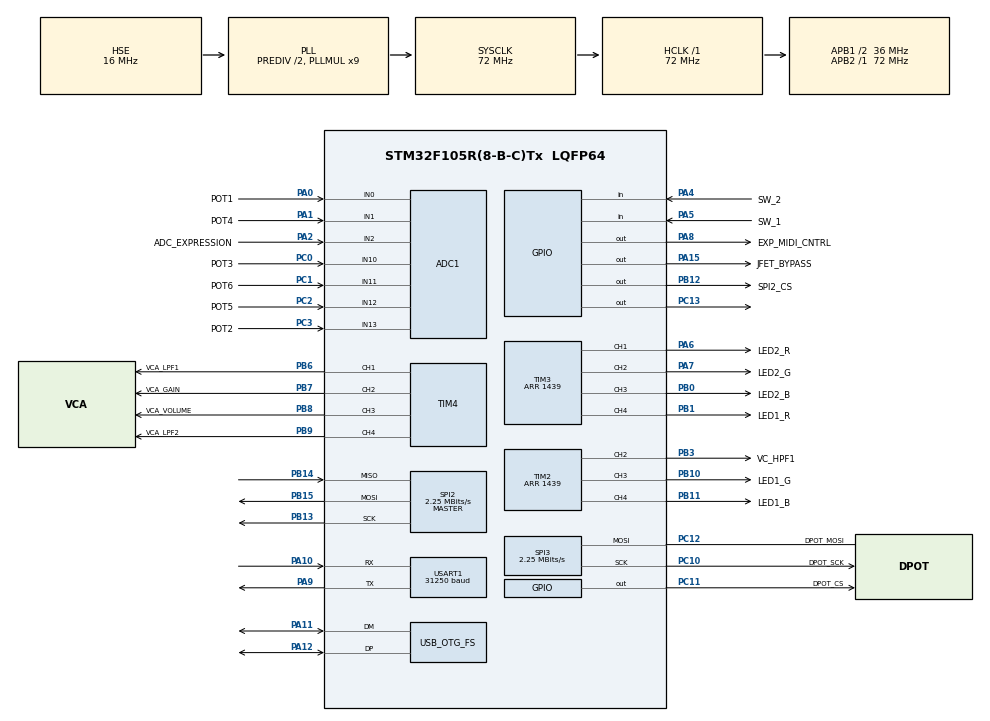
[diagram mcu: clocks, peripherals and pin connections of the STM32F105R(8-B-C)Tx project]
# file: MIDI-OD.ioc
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ADC1.Channel-1\#ChannelRegularConversion=ADC_CHANNEL_10
ADC1.NbrOfConversionFlag=1
ADC1.Rank-1\#ChannelRegularConversion=1
ADC1.SamplingTime-1\#ChannelRegularConversion=ADC_SAMPLETIME_1CYCLE_5
ADC1.master=1
Mcu.Family=STM32F1
Mcu.Name=STM32F105R(8-B-C)Tx
Mcu.Package=LQFP64
NVIC.PriorityGroup=NVIC_PRIORITYGROUP_4
PA0-WKUP.GPIO_Label=POT1
PA0-WKUP.Signal=ADCx_IN0
PA1.GPIO_Label=POT4
PA1.Signal=ADCx_IN1
PA10.Mode=Asynchronous
PA10.Signal=USART1_RX
PA11.Mode=Device_Only
PA11.Signal=USB_OTG_FS_DM
PA12.Mode=Device_Only
PA12.Signal=USB_OTG_FS_DP
PA13.Mode=Serial_Wire
PA13.Signal=SYS_JTMS-SWDIO
PA14.Mode=Serial_Wire
PA14.Signal=SYS_JTCK-SWCLK
PA15.GPIO_Label=JFET_BYPASS
PA15.Signal=GPIO_Output
PA2.GPIO_Label=ADC_EXPRESSION
PA2.Signal=ADCx_IN2
PA4.GPIO_Label=SW_2
PA4.GPIO_PuPd=GPIO_PULLUP
PA4.Signal=GPIO_Input
PA5.GPIO_Label=SW_1
PA5.GPIO_PuPd=GPIO_PULLUP
PA5.Signal=GPIO_Input
PA6.GPIO_Label=LED2_R
PA6.Signal=S_TIM3_CH1
PA7.GPIO_Label=LED2_G
PA7.Signal=S_TIM3_CH2
PA8.GPIO_Label=EXP_MIDI_CNTRL
PA8.Signal=GPIO_Output
PA9.Mode=Asynchronous
PA9.Signal=USART1_TX
PB0.GPIO_Label=LED2_B
PB0.Signal=S_TIM3_CH3
PB1.GPIO_Label=LED1_R
PB1.Signal=S_TIM3_CH4
PB10.GPIO_Label=LED1_G
PB10.Signal=S_TIM2_CH3
PB11.GPIO_Label=LED1_B
PB11.Signal=S_TIM2_CH4
PB12.GPIO_Label=SPI2_CS
PB12.PinState=GPIO_PIN_SET
PB12.Signal=GPIO_Output
PB13.Mode=Full_Duplex_Master
PB13.Signal=SPI2_SCK
PB14.Mode=Full_Duplex_Master
PB14.Signal=SPI2_MISO
PB15.Mode=Full_Duplex_Master
PB15.Signal=SPI2_MOSI
PB3.GPIO_Label=VC_HPF1
PB3.Signal=S_TIM2_CH2
PB6.GPIO_Label=VCA_LPF1
PB6.Signal=S_TIM4_CH1
PB7.GPIO_Label=VCA_GAIN
PB7.Signal=S_TIM4_CH2
PB8.GPIO_Label=VCA_VOLUME
PB8.Signal=S_TIM4_CH3
PB9.GPIO_Label=VCA_LPF2
PB9.Signal=S_TIM4_CH4
PC0.GPIO_Label=POT3
PC0.Signal=ADCx_IN10
PC1.GPIO_Label=POT6
PC1.Signal=ADCx_IN11
PC10.GPIO_Label=DPOT_SCK
PC10.Mode=Simplex_Bidirectional_Master
PC10.Signal=SPI3_SCK
PC11.GPIO_Label=DPOT_CS
PC11.PinState=GPIO_PIN_SET
PC11.Signal=GPIO_Output
PC12.GPIO_Label=DPOT_MOSI
PC12.Mode=Simplex_Bidirectional_Master
PC12.Signal=SPI3_MOSI
PC13-TAMPER-RTC.Signal=GPIO_Output
PC2.GPIO_Label=POT5
PC2.Signal=ADCx_IN12
PC3.GPIO_Label=POT2
PC3.Signal=ADCx_IN13
PD0-OSC_IN.Mode=HSE-External-Oscillator
PD0-OSC_IN.Signal=RCC_OSC_IN
PD1-OSC_OUT.Mode=HSE-External-Oscillator
PD1-OSC_OUT.Signal=RCC_OSC_OUT
ProjectManager.HeapSize=0x200
ProjectManager.StackSize=0x400
ProjectManager.TargetToolchain=STM32CubeIDE
RCC.ADCPresc=RCC_ADCPCLK2_DIV6
RCC.AHBFreq_Value=72000000
RCC.APB1CLKDivider=RCC_HCLK_DIV2
RCC.APB1Freq_Value=36000000
RCC.APB1TimFreq_Value=72000000
RCC.APB2Freq_Value=72000000
RCC.APB2TimFreq_Value=72000000
RCC.HCLKFreq_Value=72000000
RCC.HSEDivPLL=RCC_HSE_PREDIV_DIV2
RCC.HSE_VALUE=16000000
RCC.PLLMUL=RCC_PLL_MUL9
RCC.SYSCLKFreq_VALUE=72000000
RCC.SYSCLKSource=RCC_SYSCLKSOURCE_PLLCLK
RCC.USBFreq_Value=48000000
SH.ADCx_IN0.0=ADC1_IN0,IN0
SH.ADCx_IN1.0=ADC1_IN1,IN1
SH.ADCx_IN10.0=ADC1_IN10,IN10
SH.ADCx_IN11.0=ADC1_IN11,IN11
SH.ADCx_IN12.0=ADC1_IN12,IN12
SH.ADCx_IN13.0=ADC1_IN13,IN13
SH.ADCx_IN2.0=ADC1_IN2,IN2
SH.S_TIM2_CH2.0=TIM2_CH2,PWM Generation2 CH2
SH.S_TIM2_CH3.0=TIM2_CH3,PWM Generation3 CH3
SH.S_TIM2_CH4.0=TIM2_CH4,PWM Generation4 CH4
SH.S_TIM3_CH1.0=TIM3_CH1,PWM Generation1 CH1
SH.S_TIM3_CH2.0=TIM3_CH2,PWM Generation2 CH2
SH.S_TIM3_CH3.0=TIM3_CH3,PWM Generation3 CH3
SH.S_TIM3_CH4.0=TIM3_CH4,PWM Generation4 CH4
SH.S_TIM4_CH1.0=TIM4_CH1,PWM Generation1 CH1
SH.S_TIM4_CH2.0=TIM4_CH2,PWM Generation2 CH2
SH.S_TIM4_CH3.0=TIM4_CH3,PWM Generation3 CH3
SH.S_TIM4_CH4.0=TIM4_CH4,PWM Generation4 CH4
SPI2.BaudRatePrescaler=SPI_BAUDRATEPRESCALER_16
SPI2.CalculateBaudRate=2.25 MBits/s
SPI2.Direction=SPI_DIRECTION_2LINES
SPI2.Mode=SPI_MODE_MASTER
SPI2.VirtualType=VM_MASTER
SPI3.BaudRatePrescaler=SPI_BAUDRATEPRESCALER_16
SPI3.CalculateBaudRate=2.25 MBits/s
SPI3.Direction=SPI_DIRECTION_1LINE
SPI3.Mode=SPI_MODE_MASTER
SPI3.VirtualType=VM_MASTER
TIM2.Channel-PWM\ Generation2\ CH2=TIM_CHANNEL_2
TIM2.Channel-PWM\ Generation3\ CH3=TIM_CHANNEL_3
TIM2.Channel-PWM\ Generation4\ CH4=TIM_CHANNEL_4
TIM2.Period=1439
TIM3.Channel-PWM\ Generation1\ CH1=TIM_CHANNEL_1
TIM3.Channel-PWM\ Generation2\ CH2=TIM_CHANNEL_2
TIM3.Channel-PWM\ Generation3\ CH3=TIM_CHANNEL_3
TIM3.Channel-PWM\ Generation4\ CH4=TIM_CHANNEL_4
TIM3.Period=1439
TIM4.Channel-PWM\ Generation1\ CH1=TIM_CHANNEL_1
TIM4.Channel-PWM\ Generation2\ CH2=TIM_CHANNEL_2
TIM4.Channel-PWM\ Generation3\ CH3=TIM_CHANNEL_3
TIM4.Channel-PWM\ Generation4\ CH4=TIM_CHANNEL_4
USART1.BaudRate=31250
USART1.Mode=MODE_RX
USART1.VirtualMode=VM_ASYNC
USB_OTG_FS.VirtualMode=Device_Only
board=custom

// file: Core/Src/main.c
/* USER CODE BEGIN Header */
/**
  ******************************************************************************
  * @file           : main.c
  * @brief          : Main program body
  ******************************************************************************
  * @attention
  *
  * Copyright (c) 2026 STMicroelectronics.
  * All rights reserved.
  *
  * This software is licensed under terms that can be found in the LICENSE file
  * in the root directory of this software component.
  * If no LICENSE file comes with this software, it is provided AS-IS.
  *
  ******************************************************************************
  */
/* USER CODE END Header */
#include "main.h"

/* USER CODE BEGIN Includes */
#include "led_rgb.h"
#include "pot.h"
#include "footswitch.h"
#include "cvout.h"
#include "dpot_mcp41hv.h"   /* MCP41HV31 bias control (SPI3) */
#include "midi.h"           /* UART/TRS MIDI input (USART1 @ 31250) */
#include "midi_map.h"       /* CC number assignments */
#include "preset.h"         /* SW_2 preset snapshot/recall state machine       */
#include "w25q.h"           /* W25Q16JV external SPI NOR flash (SPI2, CS=PB12)  */
#include "preset_store.h"   /* preset persistence on the W25Q flash            */
#include <math.h>   /* powf — LED1 gain-curve meter; fabsf — MIDI hysteresis */
/* USER CODE END Includes */

/* USER CODE BEGIN PD */
/* Bias DPOT range (POT6 min -> max), C taper over the useful 2.8 .. 3.7 V window
 * (see Bias_Profile.md):
 *   POT6 min -> BIAS_CODE_MIN = code 98  = ~+2.8 V
 *   POT6 max -> BIAS_CODE_MAX = code 111 = ~+3.7 V
 * The bias only does something musical in this band, so POT6 sweeps just it.
 * Codes from the measured endpoints (code 63 = 0.287 V, code 127 = 4.844 V,
 * linear in code):
 *   code(V) = 63 + (V - 0.287)*(127-63)/(4.844-0.287)
 *   code(2.8 V) ~= 98 (2.78 V) ; code(3.7 V) ~= 111 (3.70 V)                    */
#define BIAS_CODE_MIN   98     /* ~+2.8 V — bottom of the useful bias window      */
#define BIAS_CODE_MAX  111     /* ~+3.7 V — top of the useful bias window         */
/* C taper (anti-log): fast rise off the bottom, fine resolution near the top.
 * curve(x) = (1 - e^-k x) / (1 - e^-k); larger k = more aggressive front end.  */
#define BIAS_TAPER_K   2.5f

/* Volume taper (POT4): match a Tube Screamer Level pot's sweep. A TS Level is a
 * linear voltage divider, so its perceived taper is ~ -VOL_TS_DB_DECADE*log10(rot)
 * (measured fit ~24 dB/decade: 2.2 / 7.6 / 16.6 dB down at 3:00 / 12:00 / 9:00 -
 * most of the loudness lives in the top of the rotation). We turn that desired
 * attenuation into a cvout control by dividing through the volume VCA's full
 * commanded CV span: VC ~3.02 V after the 1k||10k series mod, at -31 mV/dB -> ~97 dB.
 * See VCA_Profiles.md. */
#define VOL_TS_DB_DECADE  24.0f   /* TS Level taper steepness (dB per decade of rot) */
#define VOL_CV_SPAN_DB    97.4f   /* full-scale commanded atten: 3.02 V / 31 mV-per-dB */

/* --- Control smoothing (anti-zipper, TIM7 ISR) ----------------------------
 * The 100 Hz loop only sets *targets*; a TIM7 update ISR at CTRL_SMOOTH_HZ does
 * the actual output writes — (a) one-pole-slews each VCA's CV toward its target
 * and (b) glides the bias DPOT one code per tick toward its target. A fast knob
 * twist (or a MIDI jump) then ramps instead of stepping, so the staircase no
 * longer lands in the audio band as "zzz". This is our equivalent of the
 * per-sample fonepole InTheWater runs in its 48 kHz audio callback — except we
 * have no audio loop, so a dedicated timer carries it.
 *   CV_SMOOTH_COEF: one-pole alpha in  y += a*(target - y).  0.10 @ 2 kHz ~=
 *   4.8 ms time constant — smooth yet still tracks a 100 Hz target with no
 *   audible lag. Lower = smoother/slower, higher = snappier/buzzier.
 * NOTE: the VCA path has a real RC after the PWM, so smoothing fully removes its
 * zipper. The bias DPOT has NO RC after the OPA1677 buffer, so each code is an
 * instant DC step — gliding makes the steps small + evenly spaced (much quieter)
 * but a true fix still needs an output RC on +V_BIAS (see Bias_Profile.md). */
#define CTRL_SMOOTH_HZ   2000u   /* TIM7 tick: PSC 71 -> 1 MHz, ARR 499 -> 2 kHz */
#define CV_SMOOTH_COEF   0.10f
/* USER CODE END PD */

ADC_HandleTypeDef hadc1;

SPI_HandleTypeDef hspi2;
SPI_HandleTypeDef hspi3;

TIM_HandleTypeDef htim2;
TIM_HandleTypeDef htim3;
TIM_HandleTypeDef htim4;

UART_HandleTypeDef huart1;

PCD_HandleTypeDef hpcd_USB_OTG_FS;

/* USER CODE BEGIN PV */
LedRgb led1;   /* LEFT  — R:TIM3_CH4(PB1)  G:TIM2_CH3(PB10)  B:TIM2_CH4(PB11) */
LedRgb led2;   /* RIGHT — R:TIM3_CH1(PA6)  G:TIM3_CH2(PA7)   B:TIM3_CH3(PB0)  */
Pot    pots[6];  /* POT1..POT6 — read pots[i].value (0..1) after polling */
Footswitch sw1, sw2;       /* SW_1 (PA5) = bypass footswitch, SW_2 (PA4) = preset */
bool   bypass_on = true;   /* JFET bypass network: true = bypass ON (PA15 LOW,
                              MCU out 0). Unit boots bypassed. */

/* --- Presets (SW_2 + LED2) -------------------------------------------------
 * One RAM-only snapshot of the six resolved pot values; SW_2 tap = recall,
 * ~1 s hold = arm save, second hold = commit (see preset.[ch] / Preset_Profile.md).
 * Recall holds each saved value until that pot physically moves: the loop reads
 * preset_value(i) for a not-yet-moved pot in PRESET mode, then hands control back
 * to the live knob once it travels past PRESET_MOVE_EPS. pot_live[] latches that
 * hand-off; it's re-armed for all pots whenever we (re)enter PRESET mode. */
Preset preset_state;
W25Q   flash;                /* W25Q16JV external NOR (SPI2/PB12); presets persist
                                here, future PK-Bootloader firmware images too.   */
#define PRESET_HOLD_MS    1000u    /* SW_2 hold to arm/commit a save             */
#define PRESET_MOVE_EPS   0.02f    /* knob travel that reclaims a recalled pot   */
bool       sw2_hold_fired = false; /* the current SW_2 hold already armed/committed */
PresetMode preset_prev_mode = PRESET_LIVE; /* detect entry into PRESET (re-seed gate) */
bool       pot_live[6]   = { true, true, true, true, true, true }; /* knob has taken over */
float      pot_baseline[6] = {0};  /* eff[] frozen at recall, to measure movement */
/* SSI2160 VCA control-voltage outputs (PWM -> RC -> VC pin). Same cvout driver. */
CvOut  hpf1;               /* VC_HPF1    PB3 / TIM2_CH2 — POT1 (low-cut)         */
CvOut  lpf1;               /* VCA_LPF1   PB6 / TIM4_CH1 — POT2 (high-cut)        */
CvOut  lpf2;               /* VCA_LPF2   PB9 / TIM4_CH4 — POT3 (high-cut, inv.)  */
CvOut  gain;               /* VCA_GAIN   PB7 / TIM4_CH2 — POT5 (drive level in)  */
CvOut  volume;             /* VCA_VOLUME PB8 / TIM4_CH3 — POT4 (master out)      */
Mcp41hv bias;              /* MCP41HV31 bias pot on SPI3 (CS = PC11 / DPOT_CS)   */

/* --- Control smoothing (anti-zipper) — see CTRL_SMOOTH_HZ. The 100 Hz loop
 * writes the targets below; the TIM7 ISR (ctrl_smooth_tick) does the output
 * writes. 32-bit aligned float/int loads & stores are atomic on Cortex-M3, so
 * the loop<->ISR handoff needs no locking. Index: 0=HPF1 1=LPF1 2=LPF2 3=VOLUME
 * 4=GAIN (matches the cvout_set order the loop used to call directly). */
TIM_HandleTypeDef htim7;                       /* smoothing tick — NOT in CubeMX */
static CvOut* const cv_chan[5] = { &hpf1, &lpf1, &lpf2, &volume, &gain };
volatile float cv_target[5] = {0};             /* loop -> ISR: per-VCA CV goal   */
volatile int   bias_target  = BIAS_CODE_MIN;   /* loop -> ISR: DPOT code goal    */

/* --- MIDI (UART/TRS on USART1 @ 31250) ------------------------------------
 * CC 20..25 drive POT1..POT6's targets; each pot arbitrates MIDI vs the
 * physical knob with last-mover-wins hysteresis (config_applyMidi port), so a
 * twist of the real knob always reclaims control. midi_rx[] latches true once a
 * CC has ever been seen for that pot. Indices line up with pots[0..5]. */
float midi_val[6]   = {0};   /* latest CC value, 0..1, per pot                */
bool  midi_rx[6]    = {0};   /* a CC has been received for this pot (latches) */
bool  using_midi[6] = {0};   /* hysteresis: MIDI currently owns this pot      */
float last_knob[6]  = {0};   /* knob position frozen when MIDI took over      */
float last_midi[6]  = {0};   /* last MIDI value seen                          */
/* USER CODE END PV */

void SystemClock_Config(void);
static void MX_GPIO_Init(void);
static void MX_ADC1_Init(void);
static void MX_SPI2_Init(void);
static void MX_TIM2_Init(void);
static void MX_TIM3_Init(void);
static void MX_TIM4_Init(void);
static void MX_USB_OTG_FS_PCD_Init(void);
static void MX_SPI3_Init(void);
static void MX_USART1_UART_Init(void);

/* USER CODE BEGIN 0 */

/* Last-mover-wins arbitration between a physical knob and an incoming MIDI CC,
 * ported verbatim from "In The Water" (config_applyMidi). Returns the value to
 * actually use for this pot.
 *   - Before any CC for this pot: pass the knob through (usingMidi stays false).
 *   - Once a CC arrives, MIDI takes over when its move exceeds the knob's; a
 *     deliberate knob move (> HYST, and bigger than the MIDI move) reclaims it.
 *   - While MIDI owns the pot, *lastKnob is frozen so ADC jitter can't falsely
 *     steal control back. */
static float midi_apply(float knob, bool midiReceived, float midiValue,
                        float* lastKnob, float* lastMidi, bool* usingMidi)
{
  const float HYST = 0.02f;

  if (!midiReceived) {                 /* no CC yet -> pure knob */
    *usingMidi = false;
    *lastKnob  = knob;
    return knob;
  }

  float knobDelta = fabsf(knob - *lastKnob);
  float midiDelta = fabsf(midiValue - *lastMidi);

  if (*usingMidi) {
    if (knobDelta > HYST && knobDelta > midiDelta) {
      *usingMidi = false;
      *lastKnob  = knob;
    }
    /* *lastKnob intentionally frozen while MIDI is active */
  } else {
    if (midiDelta > HYST && midiDelta > knobDelta)
      *usingMidi = true;
    *lastKnob = knob;
  }

  *lastMidi = midiValue;
  return *usingMidi ? midiValue : knob;
}

/* Drive the JFET bypass network from code (mirrors the SW_1 handler):
 * bypass ON => PA15 LOW (MCU out 0), bypass OFF => PA15 HIGH. */
static void set_bypass(bool on)
{
  bypass_on = on;
  HAL_GPIO_WritePin(JFET_BYPASS_GPIO_Port, JFET_BYPASS_Pin,
                    on ? GPIO_PIN_RESET : GPIO_PIN_SET);
}

/* MIDI Control Change dispatch. CC 20..25 stash a value+flag for POT1..POT6
 * (applied with hysteresis in the loop); the rest act immediately. */
static void on_midi_cc(uint8_t cc, uint8_t value)
{
  if (cc >= MIDI_CC_POT1 && cc <= MIDI_CC_POT6) {
    uint8_t i = (uint8_t)(cc - MIDI_CC_POT1);   /* CC20..25 -> pots[0..5] */
    midi_val[i] = value * (1.0f / 127.0f);
    midi_rx[i]  = true;
    return;
  }

  switch (cc) {
    case MIDI_CC_EFFECT_ONOFF:           /* strict 0/127 direct bypass */
      if (value == 0)        set_bypass(true);
      else if (value == 127) set_bypass(false);
      break;

    case MIDI_CC_FS1:                    /* footswitch sim: a press toggles bypass */
      if (value > 0) set_bypass(!bypass_on);
      break;

    case MIDI_CC_FS2:                    /* footswitch sim: a press = preset recall toggle
                                          * (SW_2 tap). Hold-to-save has no momentary-CC
                                          * analogue, so MIDI only recalls/un-recalls. */
      if (value > 0) preset_recall_toggle(&preset_state);
      break;

    case MIDI_CC_ALL_SOUND_OFF:          /* panic -> force bypass */
    case MIDI_CC_ALL_NOTES_OFF:
      set_bypass(true);
      break;

    default:
      break;
  }
}

/* Smoothing tick — called from TIM7_IRQHandler (stm32f1xx_it.c) at
 * CTRL_SMOOTH_HZ. (a) One-pole-slews each VCA's CV toward cv_target[] and writes
 * it (the PWM's RC then smooths the small per-tick steps to a clean ramp).
 * (b) Glides the bias DPOT one code per tick toward bias_target; mcp41hv_set_code
 * change-detects, so SPI only fires while it's actually moving. Kept short: no
 * expf/powf here (those stay in the 100 Hz loop). */
void ctrl_smooth_tick(void)
{
  static float cv_smooth[5];           /* ISR-private slewed CV state */

  for (int i = 0; i < 5; i++) {
    cv_smooth[i] += CV_SMOOTH_COEF * (cv_target[i] - cv_smooth[i]);
    cvout_set(cv_chan[i], cv_smooth[i]);
  }

  int cur = bias.last_code;            /* -1 only before the boot write; here >=0 */
  if      (cur < bias_target) mcp41hv_set_code(&bias, (uint8_t)(cur + 1));
  else if (cur > bias_target) mcp41hv_set_code(&bias, (uint8_t)(cur - 1));
}

/* Bring up TIM7 as the smoothing tick: a basic timer (no GPIO) not configured in
 * CubeMX, so we enable its clock + NVIC by hand (same pattern as USART1's RX
 * vector) and it survives regeneration. APB1 timer clock = 72 MHz; PSC 71 ->
 * 1 MHz, ARR 499 -> 2 kHz update IRQ. Priority 7 = BELOW USART1 (6) so MIDI RX
 * always preempts the smoother and can never drop a byte. */
static void ctrl_smooth_start(void)
{
  __HAL_RCC_TIM7_CLK_ENABLE();
  htim7.Instance               = TIM7;
  htim7.Init.Prescaler         = (72000000u / 1000000u) - 1u;   /* -> 1 MHz */
  htim7.Init.CounterMode       = TIM_COUNTERMODE_UP;
  htim7.Init.Period            = (1000000u / CTRL_SMOOTH_HZ) - 1u;
  htim7.Init.AutoReloadPreload = TIM_AUTORELOAD_PRELOAD_DISABLE;
  HAL_TIM_Base_Init(&htim7);

  HAL_NVIC_SetPriority(TIM7_IRQn, 7, 0);
  HAL_NVIC_EnableIRQ(TIM7_IRQn);
  HAL_TIM_Base_Start_IT(&htim7);
}

/* USER CODE END 0 */

int main(void)
{

  /* MCU Configuration--------------------------------------------------------*/

  /* Reset of all peripherals, Initializes the Flash interface and the Systick. */
  HAL_Init();

  /* Configure the system clock */
  SystemClock_Config();

  /* Initialize all configured peripherals */
  MX_GPIO_Init();
  MX_ADC1_Init();
  MX_SPI2_Init();
  MX_TIM2_Init();
  MX_TIM3_Init();
  MX_TIM4_Init();
  MX_USB_OTG_FS_PCD_Init();
  MX_SPI3_Init();
  MX_USART1_UART_Init();
  /* USER CODE BEGIN 2 */
  /* PA15 (JFET_BYPASS) is JTDI by default. Disable JTAG — keeping SW-debug so
   * the ST-Link still connects — to free PA15 (and PB3/PB4) for GPIO. */
  __HAL_RCC_AFIO_CLK_ENABLE();
  __HAL_AFIO_REMAP_SWJ_NOJTAG();

  /* LED2 (right): all three colors on TIM3. */
  ledrgb_init(&led2, &htim3,
              TIM_CHANNEL_1, TIM_CHANNEL_2, TIM_CHANNEL_3,
              LED_POLARITY_ACTIVE_LOW, 1.0f);
  /* LED1 (left): R on TIM3_CH4, G/B on TIM2 — split across two timers. */
  ledrgb_init_split(&led1,
                    &htim3, TIM_CHANNEL_4,   /* R */
                    &htim2, TIM_CHANNEL_3,   /* G */
                    &htim2, TIM_CHANNEL_4,   /* B */
                    LED_POLARITY_ACTIVE_LOW, 1.0f);

  /* (LED PWM channels were already started OFF in MX_TIM2/3_Init's USER CODE 2
   * blocks to avoid the active-low boot flash; ledrgb_init above just re-asserts
   * the off duty and binds the structs.) */

  /* TIM4 carries three CV outs (CH1/CH2/CH4); CubeMX left it at the default 65535
   * (~1.1 kHz). Force 50 kHz like TIM2/TIM3 so the 10k/220n RC rejects the PWM
   * ripple (survives regen; mirror Period=1439 in CubeMX if you want). */
  __HAL_TIM_SET_AUTORELOAD(&htim4, 1439);

  /* SSI2160 VCA CV outs — one pot each. cvout maps 0..1 -> duty -> CV (÷2 from the
   * 10k series + ~10k VC input). Octave-linear, -31 mV/dB. Filters use a 0.555
   * duty span (~5 octaves); volumes use 1.0 (full ~-53 dB).
   *
   * Directions (flip the two duty args to reverse any knob):
   *   POT1 HPF1:   down = max cut (~600 Hz)  up = open (20 Hz)
   *   POT2 LPF1:   down = darkest            up = open (bright)
   *   POT3 LPF2:   down = darkest            up = open (bright)
   *   POT4 VOLUME: down = lowest out         up = highest (unity)
   *   POT5 GAIN:   down = lowest in          up = highest (unity) */
  cvout_init(&hpf1,   &htim2, TIM_CHANNEL_2, 0.000f, 0.555f); /* POT1 (inv.) */
  cvout_init(&lpf1,   &htim4, TIM_CHANNEL_1, 0.555f, 0.000f); /* POT2 (inv.) */
  cvout_init(&lpf2,   &htim4, TIM_CHANNEL_4, 0.555f, 0.000f); /* POT3 */
  cvout_init(&volume, &htim4, TIM_CHANNEL_3, 1.000f, 0.000f); /* POT4 */
  cvout_init(&gain,   &htim4, TIM_CHANNEL_2, 0.680f, 0.000f); /* POT5 — min gain
                            lifted to match the TS min-drive output level. duty 0.81
                            only gave +4.3 dB (gain VCA has a ~-13 dB feedthrough
                            floor that swallows the first slice of CV); 0.68 clears
                            it to land the peak ~-2.5 dB. Max gain unchanged.
                            See VCA_Profiles.md. */
  HAL_TIM_PWM_Start(&htim2, TIM_CHANNEL_2);   /* VC_HPF1    (POT1) */
  HAL_TIM_PWM_Start(&htim4, TIM_CHANNEL_1);   /* VCA_LPF1   (POT2) */
  HAL_TIM_PWM_Start(&htim4, TIM_CHANNEL_4);   /* VCA_LPF2   (POT3) */
  HAL_TIM_PWM_Start(&htim4, TIM_CHANNEL_3);   /* VCA_VOLUME (POT4) */
  HAL_TIM_PWM_Start(&htim4, TIM_CHANNEL_2);   /* VCA_GAIN   (POT5) */

  /* Pots: calibrate ADC1 once, then bind POT1..POT6 to their channels. */
  HAL_ADCEx_Calibration_Start(&hadc1);
  static const uint32_t pot_channels[6] = {
    ADC_CHANNEL_0,   /* POT1  PA0 */
    ADC_CHANNEL_13,  /* POT2  PC3 */
    ADC_CHANNEL_10,  /* POT3  PC0 */
    ADC_CHANNEL_1,   /* POT4  PA1 */
    ADC_CHANNEL_12,  /* POT5  PC2 */
    ADC_CHANNEL_11,  /* POT6  PC1 */
  };
  for (int i = 0; i < 6; i++)
    pot_init(&pots[i], &hadc1, pot_channels[i]);

  /* Footswitches. active_low = switch-to-ground + external pull-up. SW_1 is the
   * bypass footswitch; SW_2 still toggles LED2. */
  fsw_init(&sw1, SW_1_GPIO_Port, SW_1_Pin, true);
  fsw_init(&sw2, SW_2_GPIO_Port, SW_2_Pin, true);

  preset_init(&preset_state);   /* SW_2 preset state machine (boots LIVE, LED2 off) */

  /* --- External flash (W25Q16JV, SPI2, CS = PB12 / SPI2_CS) ------------------
   * 2 MB SPI NOR. Today: persists the preset snapshot (preset_store, last 4 KB
   * sector) so a saved preset survives a power-cycle — the F105 has no EEPROM.
   * Later: staging area for PK-Bootloader firmware images (bottom of the array;
   * see Flash_Profile.md). w25q_init wakes the part and reads the JEDEC ID; if
   * it doesn't answer (flash.present == false) save/load no-op and the unit just
   * runs RAM-only, so a missing/dead chip never bricks boot.
   * SPI2 is already up (MX_SPI2_Init, full-duplex Mode 0 @2.25 MHz). */
  w25q_init(&flash, &hspi2, SPI2_CS_GPIO_Port, SPI2_CS_Pin);
  preset_store_load(&flash, &preset_state);   /* loads snapshot if a valid one exists */

  /* Boot bypassed: drive PA15 low (matches CubeMX reset level + bypass_on). */
  HAL_GPIO_WritePin(JFET_BYPASS_GPIO_Port, JFET_BYPASS_Pin, GPIO_PIN_RESET);

  /* --- Bias DPOT (MCP41HV31, SPI3, CS = PC11 / DPOT_CS) ----------------------
   * Rails are ASYMMETRIC (~-4.35 / +5.0 V); mid-scale (code 63) is the rail
   * center ~+0.28 V, NOT 0 V — gating is referenced from code 63. POT6 drives
   * the bias in the loop from center (code 63, no gating) up to the positive
   * rail (code 127), C-tapered. Re-measure voltages post orientation-fix.
   * See Bias_Profile.md. */
  mcp41hv_init(&bias, &hspi3, DPOT_CS_GPIO_Port, DPOT_CS_Pin);
  mcp41hv_set_code(&bias, MCP41HV_CODE_MID);   /* boot center; POT6 takes over in the loop */

  /* --- MIDI input (UART/TRS on USART1 RX = PA10 @ 31250) --------------------
   * USART1 RX is interrupt-driven: USART1_IRQHandler (stm32f1xx_it.c) pushes
   * each byte to the MIDI ring buffer; midi_poll() drains/parses/dispatches in
   * the main loop. CC 20..25 -> POT1..POT6 targets (hysteresis), CC29 = bypass.
   * Init + register the handler BEFORE enabling the RX interrupt.
   *
   * EXP_MIDI_CNTRL (PA8) selects the TRS jack's MIDI/expression mux. It boots
   * LOW (= MIDI, matching InTheWater's D2 sense) so MIDI is live out of reset;
   * confirm the polarity on the bench.
   *
   * USART1's NVIC line is enabled here in code (NOT in CubeMX), so the
   * USART1_IRQHandler in stm32f1xx_it.c lives in a USER CODE block and survives
   * regen with no collision. We enable the NVIC line + the RXNE interrupt bit.
   * (Future option: let CubeMX manage the vector — see the note on the handler
   * in stm32f1xx_it.c.) */
  midi_init();
  midi_set_cc_handler(on_midi_cc);
  HAL_NVIC_SetPriority(USART1_IRQn, 6, 0);
  HAL_NVIC_EnableIRQ(USART1_IRQn);
  __HAL_UART_ENABLE_IT(&huart1, UART_IT_RXNE);

  /* Start the TIM7 control-smoothing ISR. From here on the loop sets cv_target[]
   * / bias_target and the ISR drives the actual VCA/bias outputs. Targets boot
   * at 0 / code 63 (matches the cvout/bias boot state above) so nothing jumps;
   * the first 100 Hz pass fills in the real knob positions and the ISR ramps to
   * them over a few ms. */
  ctrl_smooth_start();
  /* USER CODE END 2 */

  /* Infinite loop */
  while (1)
  {

    /* USER CODE BEGIN 3 */
    static uint32_t last_pot_ms = 0;
    uint32_t now = HAL_GetTick();

    /* Drain + dispatch any MIDI bytes the USART1 RX ISR has queued. Runs every
     * iteration (cheap when idle) so CCs are applied promptly. */
    midi_poll();

    /* Poll all 6 pots at 100 Hz. Read pots[i].value (0..1) anywhere. */
    if (now - last_pot_ms >= 10) {
      float dt_ms = (float)(now - last_pot_ms);   /* ~10 ms; drives preset timing */
      last_pot_ms = now;
      for (int i = 0; i < 6; i++)
        pot_poll(&pots[i]);

      fsw_poll(&sw1, now);
      fsw_poll(&sw2, now);

      /* Resolve each pot's effective value: physical knob unless a MIDI CC has
       * taken it over (last-mover-wins). eff[0..5] line up with POT1..POT6. */
      float eff[6];
      for (int i = 0; i < 6; i++)
        eff[i] = midi_apply(pots[i].value, midi_rx[i], midi_val[i],
                            &last_knob[i], &last_midi[i], &using_midi[i]);

      /* Feed the resolved values to the preset layer (updates the match cue and,
       * on commit, is what gets snapshotted). Always non-blocking. */
      for (int i = 0; i < 6; i++)
        preset_on_pot_move(&preset_state, i, eff[i]);

      /* SW_1 = bypass footswitch. Toggle the JFET network: bypass ON => PA15
       * LOW (MCU out 0), bypass OFF => PA15 HIGH (MCU out 1). */
      if (fsw_rising(&sw1)) {
        bypass_on = !bypass_on;
        HAL_GPIO_WritePin(JFET_BYPASS_GPIO_Port, JFET_BYPASS_Pin,
                          bypass_on ? GPIO_PIN_RESET : GPIO_PIN_SET);
      }

      /* SW_2 = preset: tap toggles recall/live, ~1 s hold arms a save, a second
       * hold commits. Each press fires the hold once; a release that hasn't held
       * long enough is the tap. */
      if (fsw_rising(&sw2)) sw2_hold_fired = false;
      if (!sw2_hold_fired && fsw_pressed(&sw2)
          && fsw_hold_ms(&sw2, now) >= PRESET_HOLD_MS) {
        /* A second hold (SAVE_ARMED -> PRESET) is the COMMIT; persist the fresh
         * snapshot to flash so it survives a power-cycle. The erase+program
         * blocks here for up to a few hundred ms — fine for this deliberate
         * gesture (MIDI RX is buffered in its ISR, the TIM7 smoother keeps the
         * outputs gliding; only the LEDs/loop pause briefly). */
        if (preset_mode(&preset_state) == PRESET_SAVE_ARMED) {
          /* COMMIT. Snapshot the GATED values — the saved value for any pot NOT
           * moved since recall, the live knob for pots that were. A save from a
           * recalled preset therefore keeps the untouched params and overwrites
           * only what you tweaked (copy-the-preset-then-edit), instead of grabbing
           * the raw physical panel. Armed from LIVE there's no gate, so snap == eff
           * and a fresh sound saves whole. Then persist to flash (blocks briefly). */
          bool from_preset = (preset_armed_from(&preset_state) == PRESET_PRESET);
          float snap[6];
          for (int i = 0; i < 6; i++)
            snap[i] = (from_preset && !pot_live[i])
                        ? preset_value(&preset_state, i) : eff[i];
          preset_commit(&preset_state, snap);
          preset_store_save(&flash, &preset_state);
        } else {
          preset_hold_fired(&preset_state);   /* first hold -> arm (breathe) */
        }
        sw2_hold_fired = true;
      }
      if (fsw_falling(&sw2) && !sw2_hold_fired)
        preset_recall_toggle(&preset_state);

      /* Recall hold-vs-takeover gate. On entry into PRESET mode (recall or commit)
       * re-arm every pot: it holds the saved value until the physical knob travels
       * past PRESET_MOVE_EPS, after which the live knob owns it again (and crossing
       * back onto the saved value flashes LED2 white). ctl[] is the value actually
       * driven; eff[] is the raw knob/MIDI. (When the gate applies — including a
       * save armed from a preset — see the preset_ctx block just below.) */
      PresetMode pm = preset_mode(&preset_state);
      if (pm == PRESET_PRESET && preset_prev_mode != PRESET_PRESET) {
        for (int i = 0; i < 6; i++) { pot_live[i] = false; pot_baseline[i] = eff[i]; }
      }
      preset_prev_mode = pm;

      /* The recall gate governs whenever a preset is in play: recalled (PRESET) or
       * a save armed FROM a recalled preset. Keeping it live through SAVE_ARMED is
       * what lets you tweak one knob and commit "preset + that edit" — arming no
       * longer snaps every untouched pot to its raw physical position, so what you
       * hear while the LED breathes is exactly what the commit will store. A save
       * armed from LIVE has no gate (dialing a fresh sound), so ctl == eff there. */
      bool preset_ctx = (pm == PRESET_PRESET)
          || (pm == PRESET_SAVE_ARMED
              && preset_armed_from(&preset_state) == PRESET_PRESET);

      float ctl[6];
      for (int i = 0; i < 6; i++) {
        if (preset_ctx) {
          if (!pot_live[i] && fabsf(eff[i] - pot_baseline[i]) > PRESET_MOVE_EPS)
            pot_live[i] = true;                 /* knob reclaimed this pot */
          ctl[i] = pot_live[i] ? eff[i] : preset_value(&preset_state, i);
        } else {
          ctl[i] = eff[i];                      /* LIVE / fresh SAVE_ARMED: straight through */
        }
      }

      /* Publish each pot's driven value as a *target*; the TIM7 ISR slews the
       * actual VCA CV / bias code toward it (anti-zipper — see CTRL_SMOOTH_HZ).
       * Index order matches cv_chan[]: HPF1 LPF1 LPF2 VOLUME GAIN. */
      cv_target[0] = ctl[0];   /* POT1 -> HPF1   */
      cv_target[1] = ctl[1];   /* POT2 -> LPF1   */
      cv_target[2] = ctl[2];   /* POT3 -> LPF2   */
      /* VOLUME (POT4) with a Tube-Screamer Level taper. The raw knob is linear,
       * but a TS Level pot crams most of the loudness into the top of the sweep
       * (only ~7.6 dB down at noon). Reshape POT4 to that curve: desired
       * attenuation = -VOL_TS_DB_DECADE*log10(knob), mapped through the VCA's full
       * commanded CV span (VOL_CV_SPAN_DB). Knob max = loudest (control 1); knob
       * min = deepest mute (control 0 = max CV, ~-55 dB floor). Forced to full
       * attenuation when bypassed so only the dry JFET path passes; the slew also
       * gives a soft (few-ms) bypass transition for free. */
      float vol_curve;
      {
        float p = ctl[3];                       /* POT4 / MIDI volume 0..1 */
        if (p <= 0.0f) {
          vol_curve = 0.0f;                     /* hard bottom = deepest mute */
        } else {
          float atten_db = -VOL_TS_DB_DECADE * log10f(p);   /* >=0 dB below max */
          vol_curve = 1.0f - atten_db / VOL_CV_SPAN_DB;
          if (vol_curve < 0.0f) vol_curve = 0.0f;
          else if (vol_curve > 1.0f) vol_curve = 1.0f;
        }
      }
      cv_target[3] = bypass_on ? 0.0f : vol_curve;   /* POT4 -> VOLUME */
      cv_target[4] = ctl[4];   /* POT5 -> GAIN   */

      /* POT6 -> bias: code 98 (~+2.8 V) -> 111 (~+3.7 V), with a C taper so the
       * bias moves fast off the bottom then fine-tunes near the top. Set the
       * target code here; the ISR glides toward it one code at a time
       * (change-detected SPI), so a fast twist ramps instead of lurching.
       * For a linear sweep instead, replace the two lines below with:
       *   float bias_curve = ctl[5]; */
      float bias_curve = (1.0f - expf(-BIAS_TAPER_K * ctl[5]))
                       / (1.0f - expf(-BIAS_TAPER_K));
      bias_target = (int)lroundf(
          (float)BIAS_CODE_MIN
          + bias_curve * ((float)BIAS_CODE_MAX - (float)BIAS_CODE_MIN));

      /* Advance preset timing (breathe phase + match-cue countdown). */
      preset_tick(&preset_state, dt_ms);

      /* LED1 = engage indicator: solid red while the effect is in circuit
       * (bypass OFF), off when bypassed. ledrgb_set drives the per-channel color
       * AND re-renders the PWM (ledrgb_setBrightness only moves the cap, so on its
       * own it never lit); LED1's max_brightness stays 1.0 from init. */
      if (bypass_on) ledrgb_off(&led1);
      else           ledrgb_set(&led1, 1.0f, 0.0f, 0.0f);   /* solid red */

      /* LED2 = preset status: off (live), solid red (recalled), white flash when a
       * knob crosses onto its saved value, breathing white (save armed). */
      if (preset_led_on(&preset_state)) {
        PresetColor c = preset_led_color(&preset_state);
        ledrgb_set(&led2, c.r, c.g, c.b);
      } else {
        ledrgb_off(&led2);
      }
    }
  }
  /* USER CODE END 3 */
}

void SystemClock_Config(void)
{
  RCC_OscInitTypeDef RCC_OscInitStruct = {0};
  RCC_ClkInitTypeDef RCC_ClkInitStruct = {0};
  RCC_PeriphCLKInitTypeDef PeriphClkInit = {0};

  /** Initializes the RCC Oscillators according to the specified parameters
  * in the RCC_OscInitTypeDef structure.
  */
  RCC_OscInitStruct.OscillatorType = RCC_OSCILLATORTYPE_HSE;
  RCC_OscInitStruct.HSEState = RCC_HSE_ON;
  RCC_OscInitStruct.HSEPredivValue = RCC_HSE_PREDIV_DIV2;
  RCC_OscInitStruct.HSIState = RCC_HSI_ON;
  RCC_OscInitStruct.Prediv1Source = RCC_PREDIV1_SOURCE_HSE;
  RCC_OscInitStruct.PLL.PLLState = RCC_PLL_ON;
  RCC_OscInitStruct.PLL.PLLSource = RCC_PLLSOURCE_HSE;
  RCC_OscInitStruct.PLL.PLLMUL = RCC_PLL_MUL9;
  RCC_OscInitStruct.PLL2.PLL2State = RCC_PLL_NONE;
  if (HAL_RCC_OscConfig(&RCC_OscInitStruct) != HAL_OK)
  {
    Error_Handler();
  }

  /** Initializes the CPU, AHB and APB buses clocks
  */
  RCC_ClkInitStruct.ClockType = RCC_CLOCKTYPE_HCLK|RCC_CLOCKTYPE_SYSCLK
                              |RCC_CLOCKTYPE_PCLK1|RCC_CLOCKTYPE_PCLK2;
  RCC_ClkInitStruct.SYSCLKSource = RCC_SYSCLKSOURCE_PLLCLK;
  RCC_ClkInitStruct.AHBCLKDivider = RCC_SYSCLK_DIV1;
  RCC_ClkInitStruct.APB1CLKDivider = RCC_HCLK_DIV2;
  RCC_ClkInitStruct.APB2CLKDivider = RCC_HCLK_DIV1;

  if (HAL_RCC_ClockConfig(&RCC_ClkInitStruct, FLASH_LATENCY_2) != HAL_OK)
  {
    Error_Handler();
  }
  PeriphClkInit.PeriphClockSelection = RCC_PERIPHCLK_ADC|RCC_PERIPHCLK_USB;
  PeriphClkInit.AdcClockSelection = RCC_ADCPCLK2_DIV6;
  PeriphClkInit.UsbClockSelection = RCC_USBCLKSOURCE_PLL_DIV3;
  if (HAL_RCCEx_PeriphCLKConfig(&PeriphClkInit) != HAL_OK)
  {
    Error_Handler();
  }

  /** Configure the Systick interrupt time
  */
  __HAL_RCC_PLLI2S_ENABLE();
}

static void MX_ADC1_Init(void)
{

  ADC_ChannelConfTypeDef sConfig = {0};

  /** Common config
  */
  hadc1.Instance = ADC1;
  hadc1.Init.ScanConvMode = ADC_SCAN_DISABLE;
  hadc1.Init.ContinuousConvMode = DISABLE;
  hadc1.Init.DiscontinuousConvMode = DISABLE;
  hadc1.Init.ExternalTrigConv = ADC_SOFTWARE_START;
  hadc1.Init.DataAlign = ADC_DATAALIGN_RIGHT;
  hadc1.Init.NbrOfConversion = 1;
  if (HAL_ADC_Init(&hadc1) != HAL_OK)
  {
    Error_Handler();
  }

  /** Configure Regular Channel
  */
  sConfig.Channel = ADC_CHANNEL_10;
  sConfig.Rank = ADC_REGULAR_RANK_1;
  sConfig.SamplingTime = ADC_SAMPLETIME_1CYCLE_5;
  if (HAL_ADC_ConfigChannel(&hadc1, &sConfig) != HAL_OK)
  {
    Error_Handler();
  }

}

static void MX_SPI2_Init(void)
{

  /* SPI2 parameter configuration*/
  hspi2.Instance = SPI2;
  hspi2.Init.Mode = SPI_MODE_MASTER;
  hspi2.Init.Direction = SPI_DIRECTION_2LINES;
  hspi2.Init.DataSize = SPI_DATASIZE_8BIT;
  hspi2.Init.CLKPolarity = SPI_POLARITY_LOW;
  hspi2.Init.CLKPhase = SPI_PHASE_1EDGE;
  hspi2.Init.NSS = SPI_NSS_SOFT;
  hspi2.Init.BaudRatePrescaler = SPI_BAUDRATEPRESCALER_16;
  hspi2.Init.FirstBit = SPI_FIRSTBIT_MSB;
  hspi2.Init.TIMode = SPI_TIMODE_DISABLE;
  hspi2.Init.CRCCalculation = SPI_CRCCALCULATION_DISABLE;
  hspi2.Init.CRCPolynomial = 10;
  if (HAL_SPI_Init(&hspi2) != HAL_OK)
  {
    Error_Handler();
  }

}

static void MX_SPI3_Init(void)
{

  /* SPI3 parameter configuration*/
  hspi3.Instance = SPI3;
  hspi3.Init.Mode = SPI_MODE_MASTER;
  hspi3.Init.Direction = SPI_DIRECTION_1LINE;
  hspi3.Init.DataSize = SPI_DATASIZE_8BIT;
  hspi3.Init.CLKPolarity = SPI_POLARITY_LOW;
  hspi3.Init.CLKPhase = SPI_PHASE_1EDGE;
  hspi3.Init.NSS = SPI_NSS_SOFT;
  hspi3.Init.BaudRatePrescaler = SPI_BAUDRATEPRESCALER_16;
  hspi3.Init.FirstBit = SPI_FIRSTBIT_MSB;
  hspi3.Init.TIMode = SPI_TIMODE_DISABLE;
  hspi3.Init.CRCCalculation = SPI_CRCCALCULATION_DISABLE;
  hspi3.Init.CRCPolynomial = 10;
  if (HAL_SPI_Init(&hspi3) != HAL_OK)
  {
    Error_Handler();
  }

}

static void MX_TIM2_Init(void)
{

  TIM_MasterConfigTypeDef sMasterConfig = {0};
  TIM_OC_InitTypeDef sConfigOC = {0};

  htim2.Instance = TIM2;
  htim2.Init.Prescaler = 0;
  htim2.Init.CounterMode = TIM_COUNTERMODE_UP;
  htim2.Init.Period = 1439;
  htim2.Init.ClockDivision = TIM_CLOCKDIVISION_DIV1;
  htim2.Init.AutoReloadPreload = TIM_AUTORELOAD_PRELOAD_DISABLE;
  if (HAL_TIM_PWM_Init(&htim2) != HAL_OK)
  {
    Error_Handler();
  }
  sMasterConfig.MasterOutputTrigger = TIM_TRGO_RESET;
  sMasterConfig.MasterSlaveMode = TIM_MASTERSLAVEMODE_DISABLE;
  if (HAL_TIMEx_MasterConfigSynchronization(&htim2, &sMasterConfig) != HAL_OK)
  {
    Error_Handler();
  }
  sConfigOC.OCMode = TIM_OCMODE_PWM1;
  sConfigOC.Pulse = 0;
  sConfigOC.OCPolarity = TIM_OCPOLARITY_HIGH;
  sConfigOC.OCFastMode = TIM_OCFAST_DISABLE;
  if (HAL_TIM_PWM_ConfigChannel(&htim2, &sConfigOC, TIM_CHANNEL_2) != HAL_OK)
  {
    Error_Handler();
  }
  if (HAL_TIM_PWM_ConfigChannel(&htim2, &sConfigOC, TIM_CHANNEL_3) != HAL_OK)
  {
    Error_Handler();
  }
  if (HAL_TIM_PWM_ConfigChannel(&htim2, &sConfigOC, TIM_CHANNEL_4) != HAL_OK)
  {
    Error_Handler();
  }
  /* USER CODE BEGIN TIM2_Init 2 */
  /* Anti-flash for LED1 G/B (CH3/CH4, active-low) -- see TIM3_Init 2. CH2 is the
   * HPF1 VCA (not an LED), so it's left for USER CODE 2. */
  {
    uint32_t off = __HAL_TIM_GET_AUTORELOAD(&htim2) + 1;
    __HAL_TIM_SET_COMPARE(&htim2, TIM_CHANNEL_3, off);
    __HAL_TIM_SET_COMPARE(&htim2, TIM_CHANNEL_4, off);
    HAL_TIM_PWM_Start(&htim2, TIM_CHANNEL_3);
    HAL_TIM_PWM_Start(&htim2, TIM_CHANNEL_4);
  }
  /* USER CODE END TIM2_Init 2 */
  HAL_TIM_MspPostInit(&htim2);

}

static void MX_TIM3_Init(void)
{

  TIM_MasterConfigTypeDef sMasterConfig = {0};
  TIM_OC_InitTypeDef sConfigOC = {0};

  htim3.Instance = TIM3;
  htim3.Init.Prescaler = 0;
  htim3.Init.CounterMode = TIM_COUNTERMODE_UP;
  htim3.Init.Period = 1439;
  htim3.Init.ClockDivision = TIM_CLOCKDIVISION_DIV1;
  htim3.Init.AutoReloadPreload = TIM_AUTORELOAD_PRELOAD_DISABLE;
  if (HAL_TIM_PWM_Init(&htim3) != HAL_OK)
  {
    Error_Handler();
  }
  sMasterConfig.MasterOutputTrigger = TIM_TRGO_RESET;
  sMasterConfig.MasterSlaveMode = TIM_MASTERSLAVEMODE_DISABLE;
  if (HAL_TIMEx_MasterConfigSynchronization(&htim3, &sMasterConfig) != HAL_OK)
  {
    Error_Handler();
  }
  sConfigOC.OCMode = TIM_OCMODE_PWM1;
  sConfigOC.Pulse = 0;
  sConfigOC.OCPolarity = TIM_OCPOLARITY_HIGH;
  sConfigOC.OCFastMode = TIM_OCFAST_DISABLE;
  if (HAL_TIM_PWM_ConfigChannel(&htim3, &sConfigOC, TIM_CHANNEL_1) != HAL_OK)
  {
    Error_Handler();
  }
  if (HAL_TIM_PWM_ConfigChannel(&htim3, &sConfigOC, TIM_CHANNEL_2) != HAL_OK)
  {
    Error_Handler();
  }
  if (HAL_TIM_PWM_ConfigChannel(&htim3, &sConfigOC, TIM_CHANNEL_3) != HAL_OK)
  {
    Error_Handler();
  }
  if (HAL_TIM_PWM_ConfigChannel(&htim3, &sConfigOC, TIM_CHANNEL_4) != HAL_OK)
  {
    Error_Handler();
  }
  /* USER CODE BEGIN TIM3_Init 2 */
  /* Anti-flash: LEDs are common-anode/active-low. Preload every channel's compare
   * to OFF (full-high) and start the PWM *before* MspPostInit switches the pins to
   * AF -- so they come up high (off) instead of briefly sitting AF-disabled-low
   * (which would light them during boot). CH1/2/3 = LED2 RGB, CH4 = LED1 R. */
  {
    uint32_t off = __HAL_TIM_GET_AUTORELOAD(&htim3) + 1;   /* CCR = ARR+1 = 100% high */
    __HAL_TIM_SET_COMPARE(&htim3, TIM_CHANNEL_1, off);
    __HAL_TIM_SET_COMPARE(&htim3, TIM_CHANNEL_2, off);
    __HAL_TIM_SET_COMPARE(&htim3, TIM_CHANNEL_3, off);
    __HAL_TIM_SET_COMPARE(&htim3, TIM_CHANNEL_4, off);
    HAL_TIM_PWM_Start(&htim3, TIM_CHANNEL_1);
    HAL_TIM_PWM_Start(&htim3, TIM_CHANNEL_2);
    HAL_TIM_PWM_Start(&htim3, TIM_CHANNEL_3);
    HAL_TIM_PWM_Start(&htim3, TIM_CHANNEL_4);
  }
  /* USER CODE END TIM3_Init 2 */
  HAL_TIM_MspPostInit(&htim3);

}

static void MX_TIM4_Init(void)
{

  TIM_MasterConfigTypeDef sMasterConfig = {0};
  TIM_OC_InitTypeDef sConfigOC = {0};

  htim4.Instance = TIM4;
  htim4.Init.Prescaler = 0;
  htim4.Init.CounterMode = TIM_COUNTERMODE_UP;
  htim4.Init.Period = 65535;
  htim4.Init.ClockDivision = TIM_CLOCKDIVISION_DIV1;
  htim4.Init.AutoReloadPreload = TIM_AUTORELOAD_PRELOAD_DISABLE;
  if (HAL_TIM_PWM_Init(&htim4) != HAL_OK)
  {
    Error_Handler();
  }
  sMasterConfig.MasterOutputTrigger = TIM_TRGO_RESET;
  sMasterConfig.MasterSlaveMode = TIM_MASTERSLAVEMODE_DISABLE;
  if (HAL_TIMEx_MasterConfigSynchronization(&htim4, &sMasterConfig) != HAL_OK)
  {
    Error_Handler();
  }
  sConfigOC.OCMode = TIM_OCMODE_PWM1;
  sConfigOC.Pulse = 0;
  sConfigOC.OCPolarity = TIM_OCPOLARITY_HIGH;
  sConfigOC.OCFastMode = TIM_OCFAST_DISABLE;
  if (HAL_TIM_PWM_ConfigChannel(&htim4, &sConfigOC, TIM_CHANNEL_1) != HAL_OK)
  {
    Error_Handler();
  }
  if (HAL_TIM_PWM_ConfigChannel(&htim4, &sConfigOC, TIM_CHANNEL_2) != HAL_OK)
  {
    Error_Handler();
  }
  if (HAL_TIM_PWM_ConfigChannel(&htim4, &sConfigOC, TIM_CHANNEL_3) != HAL_OK)
  {
    Error_Handler();
  }
  if (HAL_TIM_PWM_ConfigChannel(&htim4, &sConfigOC, TIM_CHANNEL_4) != HAL_OK)
  {
    Error_Handler();
  }
  HAL_TIM_MspPostInit(&htim4);

}

static void MX_USART1_UART_Init(void)
{

  huart1.Instance = USART1;
  huart1.Init.BaudRate = 31250;   /* MIDI standard (was 115200); mirrored in .ioc */
  huart1.Init.WordLength = UART_WORDLENGTH_8B;
  huart1.Init.StopBits = UART_STOPBITS_1;
  huart1.Init.Parity = UART_PARITY_NONE;
  huart1.Init.Mode = UART_MODE_RX;
  huart1.Init.HwFlowCtl = UART_HWCONTROL_NONE;
  huart1.Init.OverSampling = UART_OVERSAMPLING_16;
  if (HAL_UART_Init(&huart1) != HAL_OK)
  {
    Error_Handler();
  }

}

static void MX_USB_OTG_FS_PCD_Init(void)
{

  hpcd_USB_OTG_FS.Instance = USB_OTG_FS;
  hpcd_USB_OTG_FS.Init.dev_endpoints = 4;
  hpcd_USB_OTG_FS.Init.speed = PCD_SPEED_FULL;
  hpcd_USB_OTG_FS.Init.phy_itface = PCD_PHY_EMBEDDED;
  hpcd_USB_OTG_FS.Init.Sof_enable = DISABLE;
  hpcd_USB_OTG_FS.Init.low_power_enable = DISABLE;
  hpcd_USB_OTG_FS.Init.vbus_sensing_enable = DISABLE;
  if (HAL_PCD_Init(&hpcd_USB_OTG_FS) != HAL_OK)
  {
    Error_Handler();
  }

}

static void MX_GPIO_Init(void)
{
  GPIO_InitTypeDef GPIO_InitStruct = {0};

  /* GPIO Ports Clock Enable */
  __HAL_RCC_GPIOC_CLK_ENABLE();
  __HAL_RCC_GPIOD_CLK_ENABLE();
  __HAL_RCC_GPIOA_CLK_ENABLE();
  __HAL_RCC_GPIOB_CLK_ENABLE();

  /*Configure GPIO pin Output Level */
  HAL_GPIO_WritePin(GPIOC, GPIO_PIN_13, GPIO_PIN_RESET);

  /*Configure GPIO pin Output Level */
  HAL_GPIO_WritePin(SPI2_CS_GPIO_Port, SPI2_CS_Pin, GPIO_PIN_SET);

  /*Configure GPIO pin Output Level */
  HAL_GPIO_WritePin(GPIOA, EXP_MIDI_CNTRL_Pin|JFET_BYPASS_Pin, GPIO_PIN_RESET);

  /*Configure GPIO pin Output Level */
  HAL_GPIO_WritePin(DPOT_CS_GPIO_Port, DPOT_CS_Pin, GPIO_PIN_SET);

  /*Configure GPIO pins : PC13 DPOT_CS_Pin */
  GPIO_InitStruct.Pin = GPIO_PIN_13|DPOT_CS_Pin;
  GPIO_InitStruct.Mode = GPIO_MODE_OUTPUT_PP;
  GPIO_InitStruct.Pull = GPIO_NOPULL;
  GPIO_InitStruct.Speed = GPIO_SPEED_FREQ_LOW;
  HAL_GPIO_Init(GPIOC, &GPIO_InitStruct);

  /*Configure GPIO pins : SW_2_Pin SW_1_Pin */
  GPIO_InitStruct.Pin = SW_2_Pin|SW_1_Pin;
  GPIO_InitStruct.Mode = GPIO_MODE_INPUT;
  GPIO_InitStruct.Pull = GPIO_PULLUP;
  HAL_GPIO_Init(GPIOA, &GPIO_InitStruct);

  /*Configure GPIO pin : SPI2_CS_Pin */
  GPIO_InitStruct.Pin = SPI2_CS_Pin;
  GPIO_InitStruct.Mode = GPIO_MODE_OUTPUT_PP;
  GPIO_InitStruct.Pull = GPIO_NOPULL;
  GPIO_InitStruct.Speed = GPIO_SPEED_FREQ_LOW;
  HAL_GPIO_Init(SPI2_CS_GPIO_Port, &GPIO_InitStruct);

  /*Configure GPIO pins : EXP_MIDI_CNTRL_Pin JFET_BYPASS_Pin */
  GPIO_InitStruct.Pin = EXP_MIDI_CNTRL_Pin|JFET_BYPASS_Pin;
  GPIO_InitStruct.Mode = GPIO_MODE_OUTPUT_PP;
  GPIO_InitStruct.Pull = GPIO_NOPULL;
  GPIO_InitStruct.Speed = GPIO_SPEED_FREQ_LOW;
  HAL_GPIO_Init(GPIOA, &GPIO_InitStruct);

}

void Error_Handler(void)
{
  __disable_irq();
  while (1)
  {
  }
}
